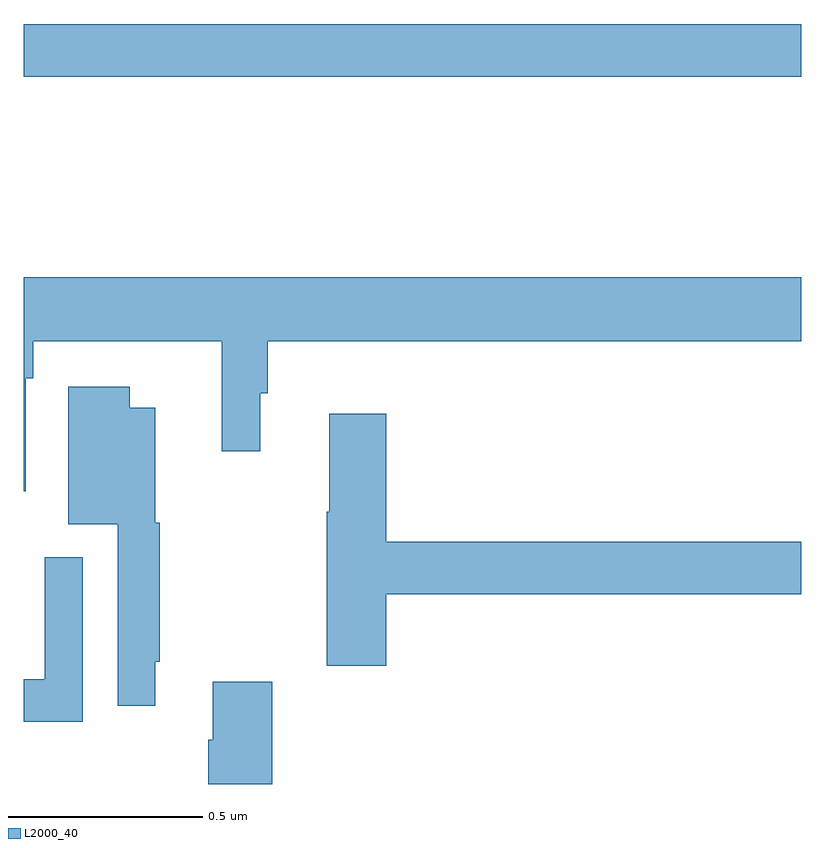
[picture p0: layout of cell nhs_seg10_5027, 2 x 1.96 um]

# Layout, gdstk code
import gdstk
lib = gdstk.Library(unit=1e-6, precision=1e-09)
def R(c, l, rs):  # rectangles x0, y0, x1, y1
    for r in rs: c.add(gdstk.rectangle(r[:2], r[2:], *l))
def P(c, l, *ps):  # polygons
    for p in ps: c.add(gdstk.Polygon(p, *l))
L2000_40 = (2000, 40)

nhs_seg10_5027 = lib.new_cell('nhs_seg10_5027')
R(nhs_seg10_5027, L2000_40, [(173,1310.32,175,1310.456)])
P(nhs_seg10_5027, L2000_40, [(173.004,1309.544),(173.024,1309.544),(173.024,1309.64),(173.509,1309.64),(173.509,1309.356),(173.608,1309.356),(173.608,1309.506),(173.627,1309.506),(173.627,1309.64),(175,1309.64),(175,1309.804),(173,1309.804),(173,1309.254),(173.004,1309.254)],
  [(173.338,1308.814),(173.35,1308.814),(173.35,1309.173),(173.338,1309.173),(173.338,1309.468),(173.272,1309.468),(173.272,1309.522),(173.114,1309.522),(173.114,1309.169),(173.241,1309.169),(173.241,1308.702),(173.338,1308.702)],
  [(173.933,1308.988),(175,1308.988),(175,1309.124),(173.933,1309.124),(173.933,1309.453),(173.786,1309.453),(173.786,1309.201),(173.779,1309.201),(173.779,1308.804),(173.933,1308.804)],
  [(173.151,1309.084),(173.054,1309.084),(173.054,1308.769),(173,1308.769),(173,1308.66),(173.151,1308.66)],
  [(173.639,1308.763),(173.486,1308.763),(173.486,1308.614),(173.474,1308.614),(173.474,1308.5),(173.639,1308.5)])

lib.write_gds('nhs_seg10_5027.gds')
